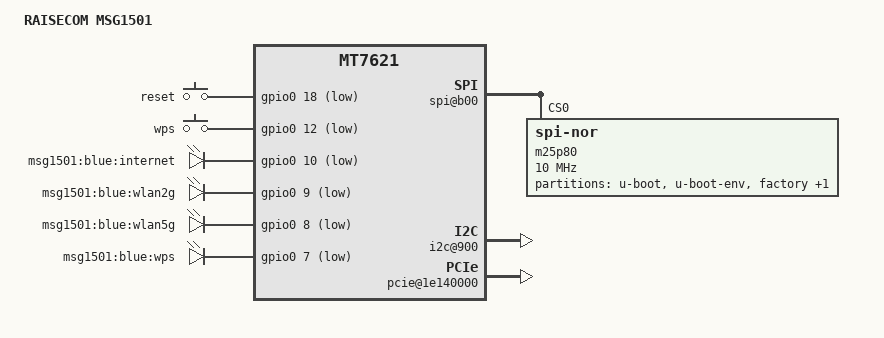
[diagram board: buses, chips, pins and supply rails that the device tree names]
/dts-v1/;

/include/ "mt7621.dtsi"

/ {
	compatible = "raisecom-msg1501", "mediatek,mt7621-soc";
	model = "RAISECOM MSG1501";

	chosen {
		bootargs = "console=ttyS0,115200";
	};

	palmbus@1E000000 {
		spi@b00 {
			status = "okay";

			m25p80@0 {
				#address-cells = <1>;
				#size-cells = <1>;
				compatible = "jedec,spi-nor";
				reg = <0 0>;
				spi-max-frequency = <10000000>;

				partition@0 {
					label = "u-boot";
					reg = <0x0 0x30000>;
					read-only;
				};

				partition@30000 {
					label = "u-boot-env";
					reg = <0x30000 0x10000>;
					read-only;
				};

				factory: partition@40000 {
					label = "factory";
					reg = <0x40000 0x10000>;
					read-only;
				};

				partition@50000 {
					label = "firmware";
					reg = <0x50000 0x7b0000>;
				};
			};
		};

		i2c@900 {
			compatible = "ralink,i2c-mt7621";
			reg = <0x900 0x100>;
			#address-cells = <1>;
			#size-cells = <0>;
			pinctrl-names = "default";
			pinctrl-0 = <&i2c_pins>;
			status = "okay";
		};
	};

	pcie@1e140000 {
		status = "okay";

		pcie0 {
			mt76@0,0 {
				reg = <0x0000 0 0 0 0>;
				device_type = "pci";
				mediatek,mtd-eeprom = <&factory 0x8000>;
				mediatek,5ghz = <0>;
			};
		};

		pcie1 {
			mt76@1,0 {
				reg = <0x0000 0 0 0 0>;
				device_type = "pci";
				mediatek,mtd-eeprom = <&factory 0x0000>;
				mediatek,2ghz = <0>;
			};
		};
	};

	ethernet@1e100000 {
		mtd-mac-address = <&factory 0xe000>;
	};

	gpio-keys-polled {
		compatible = "gpio-keys-polled";
		#address-cells = <1>;
		#size-cells = <0>;
		poll-interval = <20>;

		reset {
			label = "reset";
			gpios = <&gpio0 18 1>;
			linux,code = <0x198>;
		};

		wps {
			label = "wps";
			gpios = <&gpio0 12 1>;
			linux,code = <0x211>;
		};
	};

	gpio-leds {
		compatible = "gpio-leds";

		internet {
			label = "msg1501:blue:internet";
			gpios = <&gpio0 10 1>;
		};

		wlan2g {
			label = "msg1501:blue:wlan2g";
			gpios = <&gpio0 9 1>;
		};

		wlan5g {
			label = "msg1501:blue:wlan5g";
			gpios = <&gpio0 8 1>;
		};

		led_wps: wps {
			label = "msg1501:blue:wps";
			gpios = <&gpio0 7 1>;
		};
	};

	pinctrl {
		state_default: pinctrl0 {
			gpio {
				ralink,group = "jtag", "wdt";
				ralink,function = "gpio";
			};
		};
	};
};
